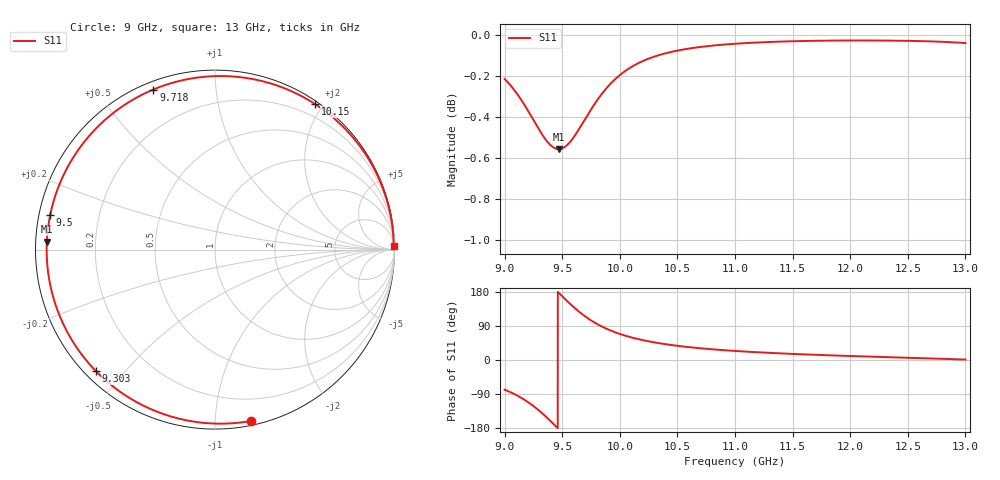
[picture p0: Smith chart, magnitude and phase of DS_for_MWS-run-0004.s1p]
! TOUCHSTONE file generated by CST DESIGN STUDIO
! Date and time: Tue Feb  4 15:59:40 2025
! Project name: C:\Work\MatlabApps\UnitCellOptimizationMatlab\CST\unitcell.cst
! Tree item: Tasks\Sweep1\SPara1\S-Parameters
! Header version: 2024
! Port assignment regex: !\s*Touchstone port\s*([0-9]+)\s*=\s*(CST MWS port|CST DES external port|CST DES block port)\s*(.+)\s* \(\"(.*)\"\)(\s*mode\s*([0-9]+))?.*
! Touchstone port assignment:
! Touchstone port 1 = CST DES external port 1 ("")
# GHz S MA R 50
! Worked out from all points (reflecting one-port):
!   4001 points, 9 GHz to 13 GHz, reference 50 ohm
!   lowest |S11| = -0.6 dB at 9.47 GHz (marker M1), VSWR 31.24, Z = 1.6 + j1.16 ohm
!   phase of S11 starts at -78 deg and turns -281 deg over the sweep
!   S11 on the Smith chart (normalised r, x): 9 GHz: 0.03, -1.23; 9.303 GHz: 0.03, -0.42; 9.5 GHz: 0.03, +0.10; 9.718 GHz: 0.03, +0.69; 10.15 GHz: 0.04, +1.90; 13 GHz: 19, +88
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9  0.9755 -78.3
9.075  0.9702 -88.4
9.172  0.9615 -104.9
9.24  0.9545 -119.1
9.303  0.9479 -134.4
9.347  0.9437 -146.2
9.393  0.9403 -159.4
9.432  0.9386 -171.1
9.47  0.938 177.3
9.5  0.9383 168.2
9.552  0.9406 152.9
9.612  0.9453 136.2
9.664  0.9503 123.2
9.718  0.9558 111.1
9.773  0.9612 100.2
9.835  0.9667 89.8
9.916  0.9727 78.4
10  0.9776 68.8
10.074  0.981 61.8
10.154  0.984 55.5
10.311  0.988 45.9
10.5  0.9911 37.5
10.722  0.9933 30.3
11  0.9949 23.9
11.5  0.9963 16.1
12  0.9967 10.5
12.5  0.9965 5.9
13  0.9953 1.2
